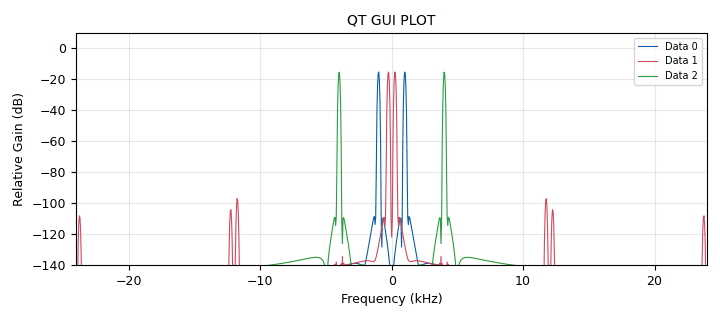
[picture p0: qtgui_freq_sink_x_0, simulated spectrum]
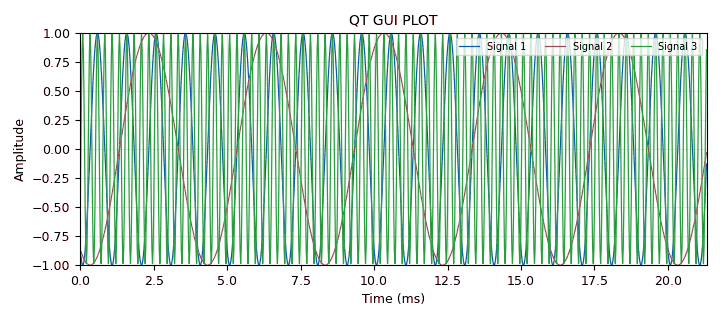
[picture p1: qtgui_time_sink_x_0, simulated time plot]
options:
  parameters:
    author: JohnLlamas2161740_NicolasSuarez2150313
    generate_options: qt_gui
    id: Labcomu_d1a_g06
    output_language: python
    title: punto2_lab_comu
  states: {}

blocks:
- name: samp_rate
  id: variable
  parameters:
    value: '48000'
  states: {}
- name: analog_sig_source_x_0
  id: analog_sig_source_x
  parameters:
    amp: '1'
    freq: '1000'
    offset: '0'
    phase: '0'
    samp_rate: samp_rate
    type: float
    waveform: analog.GR_COS_WAVE
  states: {}
- name: analog_sig_source_x_1
  id: analog_sig_source_x
  parameters:
    amp: '1'
    freq: '1000'
    offset: '0'
    phase: '0'
    samp_rate: samp_rate
    type: float
    waveform: analog.GR_COS_WAVE
  states: {}
- name: analog_sig_source_x_2
  id: analog_sig_source_x
  parameters:
    amp: '1'
    freq: '1000'
    offset: '0'
    phase: '0'
    samp_rate: samp_rate
    type: float
    waveform: analog.GR_COS_WAVE
  states: {}
- name: blocks_throttle_0
  id: blocks_throttle
  parameters:
    samples_per_second: samp_rate
    type: float
  states: {}
- name: qtgui_freq_sink_x_0
  id: qtgui_freq_sink_x
  parameters:
    bw: samp_rate
    fc: '0'
    fftsize: '1024'
    name: QT GUI PLOT
    nconnections: '3'
    type: float
    wintype: firdes.WIN_BLACKMAN_hARRIS
  states: {}
- name: qtgui_time_sink_x_0
  id: qtgui_time_sink_x
  parameters:
    name: '"QT GUI PLOT"'
    nconnections: '3'
    size: '1024'
    srate: samp_rate
    type: float
  states: {}
- name: rational_resampler_xxx_0
  id: rational_resampler_xxx
  parameters:
    decim: '1'
    fbw: '00.1'
    interp: '1'
    taps: ''
    type: fff
  states: {}
- name: rational_resampler_xxx_0_0
  id: rational_resampler_xxx
  parameters:
    decim: '4'
    fbw: '00.1'
    interp: '1'
    taps: ''
    type: fff
  states: {}
- name: rational_resampler_xxx_1
  id: rational_resampler_xxx
  parameters:
    decim: '1'
    fbw: '0.1'
    interp: '4'
    taps: ''
    type: fff
  states: {}

connections:
- [analog_sig_source_x_0, '0', rational_resampler_xxx_0, '0']
- [analog_sig_source_x_1, '0', rational_resampler_xxx_0_0, '0']
- [analog_sig_source_x_2, '0', rational_resampler_xxx_1, '0']
- [blocks_throttle_0, '0', qtgui_freq_sink_x_0, '0']
- [blocks_throttle_0, '0', qtgui_time_sink_x_0, '0']
- [rational_resampler_xxx_0, '0', blocks_throttle_0, '0']
- [rational_resampler_xxx_0_0, '0', qtgui_freq_sink_x_0, '2']
- [rational_resampler_xxx_0_0, '0', qtgui_time_sink_x_0, '2']
- [rational_resampler_xxx_1, '0', qtgui_freq_sink_x_0, '1']
- [rational_resampler_xxx_1, '0', qtgui_time_sink_x_0, '1']

metadata:
  file_format: 1
